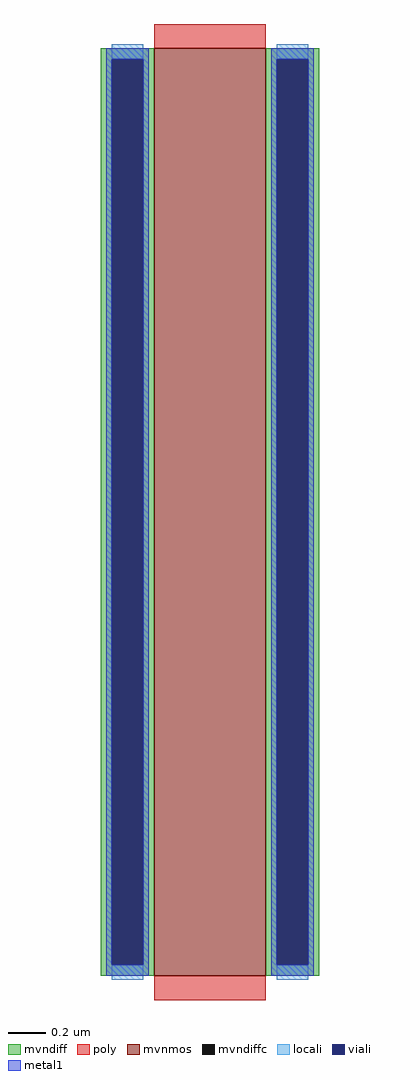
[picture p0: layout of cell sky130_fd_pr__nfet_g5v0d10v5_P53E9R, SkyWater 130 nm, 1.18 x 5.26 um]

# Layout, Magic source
magic
tech sky130A
<< mvnmos >>
rect -30 -250 30 250
<< mvndiff >>
rect -59 244 -30 250
rect -59 -244 -53 244
rect -36 -244 -30 244
rect -59 -250 -30 -244
rect 30 244 59 250
rect 30 -244 36 244
rect 53 -244 59 244
rect 30 -250 59 -244
<< mvndiffc >>
rect -53 -244 -36 244
rect 36 -244 53 244
<< poly >>
rect -30 250 30 263
rect -30 -263 30 -250
<< locali >>
rect -53 244 -36 252
rect -53 -252 -36 -244
rect 36 244 53 252
rect 36 -252 53 -244
<< viali >>
rect -53 -244 -36 244
rect 36 -244 53 244
<< metal1 >>
rect -56 244 -33 250
rect -56 -244 -53 244
rect -36 -244 -33 244
rect -56 -250 -33 -244
rect 33 244 56 250
rect 33 -244 36 244
rect 53 -244 56 244
rect 33 -250 56 -244
<< properties >>
string gencell sky130_fd_pr__nfet_g5v0d10v5
string library sky130
string parameters w 5 l 0.60 m 1 nf 1 diffcov 100 polycov 100 guard 0 glc 1 grc 1 gtc 1 gbc 1 tbcov 100 rlcov 100 topc 0 botc 0 poverlap 0 doverlap 0 lmin 0.50 wmin 0.42 compatible {sky130_fd_pr__nfet_01v8 sky130_fd_pr__nfet_01v8_lvt  sky130_fd_bs_flash__special_sonosfet_star  sky130_fd_pr__nfet_g5v0d10v5 sky130_fd_pr__nfet_05v0_nvt  sky130_fd_pr__nfet_03v3_nvt} full_metal 1 viasrc 100 viadrn 100 viagate 100 viagb 0 viagr 0 viagl 0 viagt 0
<< end >>
